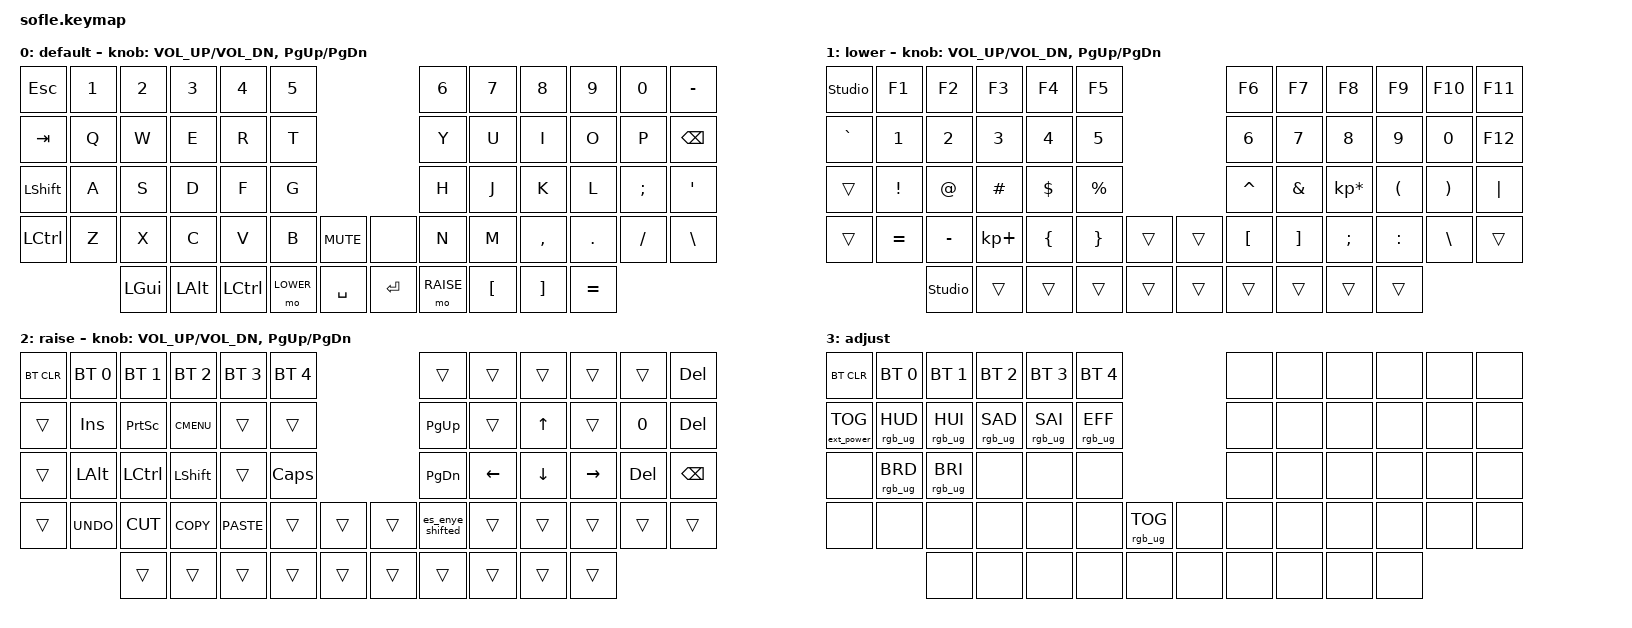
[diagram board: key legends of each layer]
/*
 * Copyright (c) 2020 The ZMK Contributors
 *
 * SPDX-License-Identifier: MIT
 */

#include <behaviors.dtsi>
#include <dt-bindings/zmk/bt.h>
#include <dt-bindings/zmk/ext_power.h>
#include <dt-bindings/zmk/keys.h>
#include <dt-bindings/zmk/rgb.h>

#define BASE 0
#define LOWER 1
#define RAISE 2
#define ADJUST 3

/ {
    // Activate ADJUST layer by pressing raise and lower

    conditional_layers {
        compatible = "zmk,conditional-layers";

        adjust_layer {
            if-layers = <LOWER RAISE>;
            then-layer = <ADJUST>;
        };
    };

    behaviors {
        es_enye: es_enye {
            compatible = "zmk,behavior-macro";
            #binding-cells = <0>;
            wait-ms = <0>;
            tap-ms = <30>;
            bindings
                = <&macro_press &kp RALT>
                , <&macro_tap &kp N>
                , <&macro_release &kp RALT>
                ;
        };

        es_enye_upper: es_enye_upper {
            compatible = "zmk,behavior-macro";
            #binding-cells = <0>;
            wait-ms = <0>;
            tap-ms = <30>;
            bindings
                = <&macro_press &kp LSHFT>
                , <&macro_press &kp RALT>
                , <&macro_tap &kp N>
                , <&macro_release &kp RALT>
                , <&macro_release &kp LSHFT>
                ;
        };

        es_enye_shifted: es_enye_shifted {
            compatible = "zmk,behavior-mod-morph";
            #binding-cells = <0>;
            bindings = <&es_enye &es_enye_upper>;
            mods = <(MOD_LSFT|MOD_RSFT)>;
        };
    };

    keymap {
        compatible = "zmk,keymap";

        default_layer {
            label = "default";

            // ------------------------------------------------------------------------------------------------------------
            // |  ESC   |  1  |  2  |  3   |  4   |  5   |                   |  6   |  7    |  8    |  9   |   0   |    -   |
            // |  TAB  |  Q  |  W  |  E   |  R   |  T   |                   |  Y   |  U    |  I    |  O   |   P   | BKSPC |
            // |  SHIFT  |  A  |  S  |  D   |  F   |  G   |                   |  H   |  J    |  K    |  L   |   ;   |   '   |
            // | CTRL |  Z  |  X  |  C   |  V   |  B   |  MUTE  |  |       |  N   |  M    |  ,    |  .   |   /   |   \   |
            //               | GUI | ALT  | CTRL | LOWER|  SPACE |  | ENTER | RAISE| [ | ]   | =  |

            bindings = <
&kp ESC    &kp N1  &kp N2    &kp N3    &kp N4     &kp N5                              &kp N6     &kp N7     &kp N8     &kp N9    &kp N0    &kp MINUS
&kp TAB    &kp Q   &kp W     &kp E     &kp R      &kp T                               &kp Y      &kp U      &kp I      &kp O     &kp P     &kp BSPC
&kp LSHFT  &kp A   &kp S     &kp D     &kp F      &kp G                               &kp H      &kp J      &kp K      &kp L     &kp SEMI  &kp SQT
&kp LCTRL  &kp Z   &kp X     &kp C     &kp V      &kp B      &kp C_MUTE    &none      &kp N      &kp M      &kp COMMA  &kp DOT   &kp FSLH  &kp BSLH
                &kp LGUI  &kp LALT  &kp LCTRL  &mo LOWER  &kp SPACE     &kp RET    &mo RAISE  &kp LBKT   &kp RBKT   &kp EQUAL
            >;

            sensor-bindings = <&inc_dec_kp C_VOL_UP C_VOL_DN &inc_dec_kp PG_UP PG_DN>;
        };

        lower_layer {
            label = "lower";

            // TODO: Some binds are waiting for shifted keycode support.
            // ------------------------------------------------------------------------------------------------------------
            // |       |  F1 |  F2 |  F3  |  F4  |  F5  |                   |  F6  |  F7   |  F8   |  F9  |  F10  |  F11  |
            // |   `   |  1  |  2  |  3   |  4   |  5   |                   |  6   |  7    |  8    |  9   |   0   |  F12  |
            // |       |  !  |  @  |  #   |  $   |  %   |                   |  ^   |  &    |  *    |  (   |   )   |   |   |
            // |       |  =  |  -  |  +   |  {   |  }   |        |  |       |  [   |  ]    |  ;    |  :   |   \   |       |
            //               |     |      |      |      |        |  |       |      |       |       |      |

            bindings = <
&studio_unlock     &kp F1     &kp F2     &kp F3       &kp F4    &kp F5                       &kp F6     &kp F7    &kp F8           &kp F9     &kp F10   &kp F11
&kp GRAVE  &kp N1     &kp N2     &kp N3       &kp N4    &kp N5                       &kp N6     &kp N7    &kp N8           &kp N9     &kp N0    &kp F12
&trans     &kp EXCL   &kp AT     &kp HASH     &kp DLLR  &kp PRCNT                    &kp CARET  &kp AMPS  &kp KP_MULTIPLY  &kp LPAR   &kp RPAR  &kp PIPE
&trans     &kp EQUAL  &kp MINUS  &kp KP_PLUS  &kp LBRC  &kp RBRC   &trans    &trans  &kp LBKT   &kp RBKT  &kp SEMI         &kp COLON  &kp BSLH  &trans
                      &studio_unlock     &trans       &trans    &trans     &trans    &trans  &trans     &trans    &trans           &trans
            >;

            sensor-bindings = <&inc_dec_kp C_VOL_UP C_VOL_DN &inc_dec_kp PG_UP PG_DN>;
        };

        raise_layer {
            label = "raise";

            // ------------------------------------------------------------------------------------------------------------
            // | BTCLR | BT1  | BT2  |  BT3  |  BT4  |  BT5 |                |      |      |       |      |       |  DELETE     |
            // |       | INS  | PSCR | GUI   |       |      |                | PGUP |      |   ^   |      |       | DELETE |
            // |       | ALT  | CTRL | SHIFT |       | CAPS |                | PGDN |   <- |   v   |  ->  |  DEL  | BKSPC |
            // |       | UNDO | CUT  | COPY  | PASTE |      |      |  |      |      |      |       |      |       |       |
            //                |      |       |       |      |      |  |      |      |      |       |      |

            bindings = <
&bt BT_CLR  &bt BT_SEL 0  &bt BT_SEL 1  &bt BT_SEL 2  &bt BT_SEL 3  &bt BT_SEL 4                    &trans     &trans    &trans    &trans     &trans   &kp DELETE
&trans      &kp INS       &kp PSCRN     &kp K_CMENU   &trans        &trans                          &kp PG_UP  &trans    &kp UP    &trans     &kp N0   &kp DELETE
&trans      &kp LALT      &kp LCTRL     &kp LSHFT     &trans        &kp CLCK                        &kp PG_DN  &kp LEFT  &kp DOWN  &kp RIGHT  &kp DEL  &kp BSPC
&trans      &kp K_UNDO    &kp K_CUT     &kp K_COPY    &kp K_PASTE   &trans        &trans    &trans  &es_enye_shifted  &trans    &trans    &trans     &trans   &trans
                          &trans        &trans        &trans        &trans        &trans    &trans  &trans     &trans    &trans    &trans
            >;

            sensor-bindings = <&inc_dec_kp C_VOL_UP C_VOL_DN &inc_dec_kp PG_UP PG_DN>;
        };

        adjust_layer {
            // ----------------------------------------------------------------------------------------------------------------------------
            // | BTCLR  |  BT1    |  BT2    |   BT3   |   BT4   |   BT5   |                  |      |      |       |      |       |       |
            // | EXTPWR | RGB_HUD | RGB_HUI | RGB_SAD | RGB_SAI | RGB_EFF |                  |      |      |       |      |       |       |
            // |        | RGB_BRD | RGB_BRI |         |         |         |                  |      |      |       |      |       |       |
            // |        |         |         |         |         |         | RGB_TOG | |      |      |      |       |      |       |       |
            //                    |         |         |         |         |         | |      |      |      |       |      |

            label = "adjust";
            bindings = <
&bt BT_CLR         &bt BT_SEL 0     &bt BT_SEL 1     &bt BT_SEL 2     &bt BT_SEL 3     &bt BT_SEL 4                               &none  &none  &none  &none  &none  &none
&ext_power EP_TOG  &rgb_ug RGB_HUD  &rgb_ug RGB_HUI  &rgb_ug RGB_SAD  &rgb_ug RGB_SAI  &rgb_ug RGB_EFF                            &none  &none  &none  &none  &none  &none
&none              &rgb_ug RGB_BRD  &rgb_ug RGB_BRI  &none            &none            &none                                      &none  &none  &none  &none  &none  &none
&none              &none            &none            &none            &none            &none            &rgb_ug RGB_TOG    &none  &none  &none  &none  &none  &none  &none
                                    &none            &none            &none            &none            &none              &none  &none  &none  &none  &none
            >;
        };
    };
};
